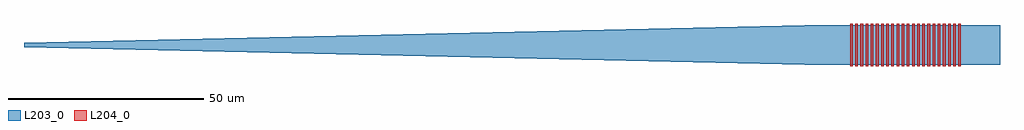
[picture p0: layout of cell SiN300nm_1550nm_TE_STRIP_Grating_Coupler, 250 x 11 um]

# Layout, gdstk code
import gdstk
lib = gdstk.Library(unit=1e-6, precision=1e-09)
def R(c, l, rs):  # rectangles x0, y0, x1, y1
    for r in rs: c.add(gdstk.rectangle(r[:2], r[2:], *l))
def A(c, l, x, y, w, h, nx, ny, dx, dy):  # array of equal rectangles
    R(c, l, [(x+i*dx, y+j*dy, x+i*dx+w, y+j*dy+h) for i in range(nx) for j in range(ny)])
def P(c, l, *ps):  # polygons
    for p in ps: c.add(gdstk.Polygon(p, *l))
L203_0 = (203, 0)
L204_0 = (204, 0)

sin300nm_1550nm_te_strip = lib.new_cell('SiN300nm_1550nm_TE_STRIP_Grating_Coupler')
P(sin300nm_1550nm_te_strip, L203_0, [(200,-5),(0,-0.6),(0,0.6),(200,5),(250,5),(250,-5)])
A(sin300nm_1550nm_te_strip, L204_0, 211.62, -5.5, 0.66, 11, 22, 1, 1.32, 0)

lib.write_gds('SiN300nm_1550nm_TE_STRIP_Grating_Coupler.gds')
